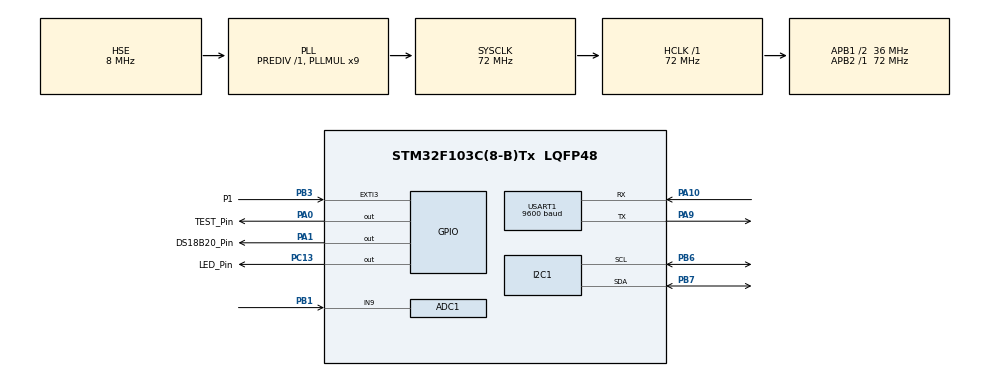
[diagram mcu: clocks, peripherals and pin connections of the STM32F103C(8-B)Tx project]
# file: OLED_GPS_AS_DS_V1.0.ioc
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ADC1.Channel-0\#ChannelRegularConversion=ADC_CHANNEL_9
ADC1.ContinuousConvMode=ENABLE
ADC1.NbrOfConversionFlag=1
ADC1.Rank-0\#ChannelRegularConversion=1
ADC1.SamplingTime-0\#ChannelRegularConversion=ADC_SAMPLETIME_1CYCLE_5
ADC1.master=1
I2C1.I2C_Mode=I2C_Fast
Mcu.Family=STM32F1
Mcu.Name=STM32F103C(8-B)Tx
Mcu.Package=LQFP48
NVIC.EXTI3_IRQn=true\:0\:0\:false\:false\:true\:true\:true\:true
NVIC.PriorityGroup=NVIC_PRIORITYGROUP_4
NVIC.USART1_IRQn=true\:0\:0\:false\:false\:true\:true\:true\:true
PA0-WKUP.GPIO_Label=TEST_Pin
PA0-WKUP.Signal=GPIO_Output
PA1.GPIO_Label=DS18B20_Pin
PA1.Signal=GPIO_Output
PA10.Mode=Asynchronous
PA10.Signal=USART1_RX
PA13.Mode=Serial_Wire
PA13.Signal=SYS_JTMS-SWDIO
PA14.Mode=Serial_Wire
PA14.Signal=SYS_JTCK-SWCLK
PA9.Mode=Asynchronous
PA9.Signal=USART1_TX
PB1.Signal=ADCx_IN9
PB3.GPIO_Label=P1
PB3.Signal=GPXTI3
PB6.Mode=I2C
PB6.Signal=I2C1_SCL
PB7.Mode=I2C
PB7.Signal=I2C1_SDA
PC13-TAMPER-RTC.GPIO_Label=LED_Pin
PC13-TAMPER-RTC.Signal=GPIO_Output
PD0-OSC_IN.Mode=HSE-External-Oscillator
PD0-OSC_IN.Signal=RCC_OSC_IN
PD1-OSC_OUT.Mode=HSE-External-Oscillator
PD1-OSC_OUT.Signal=RCC_OSC_OUT
ProjectManager.HeapSize=0x200
ProjectManager.StackSize=0x400
ProjectManager.TargetToolchain=STM32CubeIDE
RCC.ADCPresc=RCC_ADCPCLK2_DIV6
RCC.AHBFreq_Value=72000000
RCC.APB1CLKDivider=RCC_HCLK_DIV2
RCC.APB1Freq_Value=36000000
RCC.APB1TimFreq_Value=72000000
RCC.APB2Freq_Value=72000000
RCC.APB2TimFreq_Value=72000000
RCC.HCLKFreq_Value=72000000
RCC.PLLMUL=RCC_PLL_MUL9
RCC.PLLSourceVirtual=RCC_PLLSOURCE_HSE
RCC.SYSCLKFreq_VALUE=72000000
RCC.SYSCLKSource=RCC_SYSCLKSOURCE_PLLCLK
RCC.USBFreq_Value=72000000
SH.ADCx_IN9.0=ADC1_IN9,IN9
TIM1.Period=65500
TIM1.Prescaler=70-1
USART1.BaudRate=9600
USART1.VirtualMode=VM_ASYNC
VP_TIM1_VS_ClockSourceINT.Mode=Internal
board=custom

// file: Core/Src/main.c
/* USER CODE BEGIN Header */
/**
  ******************************************************************************
  * @file           : main.c
  * @brief          : Main program body
  ******************************************************************************
  * @attention
  *
  * Copyright (c) 2023 STMicroelectronics.
  * All rights reserved.
  *
  * This software is licensed under terms that can be found in the LICENSE file
  * in the root directory of this software component.
  * If no LICENSE file comes with this software, it is provided AS-IS.
  *
  ******************************************************************************
  */
/* USER CODE END Header */
#include "main.h"
#include "adc.h"
#include "i2c.h"
#include "tim.h"
#include "usart.h"
#include "gpio.h"

/* USER CODE BEGIN Includes */

#include "gps_neo6.h" //GPS

#include "onewire.h"	//DS18B20
#include "ds18b20.h"

#include "fonts.h"	//OLED
#include "ssd1306.h"

#include "stdio.h"
#include "string.h"
#include "math.h"

/* USER CODE END Includes */

/* USER CODE BEGIN PTD */
extern I2C_HandleTypeDef hi2c1;
extern TIM_HandleTypeDef htim1;
/* USER CODE END PTD */

/* USER CODE BEGIN PV */

typedef enum {
    PAGE_ONE,
    PAGE_TWO,
    PAGE_THREE,
    PAGE_FOUR,
    NUM_PAGES
} PAGE;

#define BUTTON_DEBOUNCE_DELAY 200

volatile PAGE currentPage = PAGE_ONE;
volatile uint32_t buttonPressed = 0;
volatile uint32_t lastButtonPressTime = 0;
volatile uint32_t buttonState = 0;

#define MIN_SPEED_KM 1.5    // Minimum speed (in km/h) to consider that the GPS is moving
#define GPS_EARTH_RADIUS_KM          6371.0 // Earth's radius in kilometers
#define DEG_TO_RAD                   0.0174533 // Degree to Radian conversion factor

double last_latitude = 0.0;  // Used to store the last received latitude value
double last_longitude = 0.0; // Used to store the last received longitude value
double total_distance = 0.0; // Used to store the total travelled distance

NEO6_State GpsState;

char LatitudeString[32];
char LongitudeString[32];
char SpeedString[32];
char SatelitesNumberString[32];

uint16_t readValue;
float sensitivity = 0.04; // 0.04 for 50A Model
float rawVoltage;
float current;
char current_string[32];

char total_distance_string[32];
double current_distance;

float temperature;
char temp_string[16];

/**
  * @brief  Returns the Haversine distance between two GPS coordinates.
  * @param  lat1 Latitude of first coordinate
  * @param  lon1 Longitude of first coordinate
  * @param  lat2 Latitude of second coordinate
  * @param  lon2 Longitude of second coordinate
  * @retval Haversine distance between the two coordinates
  */
double haversine_km(double lat1, double lon1, double lat2, double lon2);

double haversine_km(double lat1, double lon1, double lat2, double lon2)
{
    // Convert degrees to radians
    lat1 *= DEG_TO_RAD;
    lon1 *= DEG_TO_RAD;
    lat2 *= DEG_TO_RAD;
    lon2 *= DEG_TO_RAD;

    // Apply haversine formula
    double d_lat = lat2 - lat1;
    double d_lon = lon2 - lon1;
    double a = sin(d_lat / 2) * sin(d_lat / 2) +
               cos(lat1) * cos(lat2) *
               sin(d_lon / 2) * sin(d_lon / 2);
    double c = 2 * atan2(sqrt(a), sqrt(1 - a));

    // Multiply by Earth's radius to obtain distance in km
    return GPS_EARTH_RADIUS_KM * c;
}

/* USER CODE END PV */

void SystemClock_Config(void);
/* USER CODE BEGIN PFP */
void displayPage(PAGE page);
/* USER CODE END PFP */

int main(void)
{

  /* MCU Configuration--------------------------------------------------------*/

  /* Reset of all peripherals, Initializes the Flash interface and the Systick. */
  HAL_Init();

  /* Configure the system clock */
  SystemClock_Config();

  /* Initialize all configured peripherals */
  MX_GPIO_Init();
  MX_USART1_UART_Init();
  MX_ADC1_Init();
  MX_I2C1_Init();
  MX_TIM1_Init();
  /* USER CODE BEGIN 2 */

  HAL_ADC_Start(&hadc1);
  SSD1306_Init();
  DS18B20_Init(DS18B20_Resolution_12bits);
  HAL_GPIO_WritePin(TEST_Pin_GPIO_Port, TEST_Pin_Pin, 0);
  NEO6_Init(&GpsState, &huart1);

  uint32_t DS18B20_delay = 0;
  uint32_t NEO6_delay = 0;
  uint32_t ADC_delay = 0;
  uint32_t updateScreenTime = 0;
  uint32_t HAL_GPIO_TogglePin_delay = 0;
  /* USER CODE END 2 */

  /* Infinite loop */
  /* USER CODE BEGIN WHILE */
  while (1)
  {

//////////////////////////////////////////////////////////////////////////////////////
//			DS18B20_Temperature_Detection

	 if((HAL_GetTick() - DS18B20_delay) > 250)
	 {
		 DS18B20_ReadAll();
		 DS18B20_StartAll();

		 uint8_t ROM_tmp[8];
		 uint8_t i;		//Iterator

	    for(i = 0; i < DS18B20_Quantity(); i++)
	    {
	       if(DS18B20_GetTemperature(i, &temperature))
		   {
		    DS18B20_GetROM(i, ROM_tmp);
		   	memset(temp_string, 0, sizeof(temp_string));

		   	sprintf(temp_string, "%.2f *C", temperature);
		   }
		}
		DS18B20_delay = HAL_GetTick();
	 }

	 if((HAL_GetTick() - HAL_GPIO_TogglePin_delay) > 2000)
	 {
		 HAL_GPIO_TogglePin(LED_Pin_GPIO_Port, LED_Pin_Pin);
		 HAL_GPIO_TogglePin_delay = HAL_GetTick();
	 }

//////////////////////////////////////////////////////////////////////////////
//			Measuring_Current

	  if((HAL_GetTick() - ADC_delay) > 250)
	   {
		  HAL_ADC_PollForConversion(&hadc1,1000);
		  readValue = HAL_ADC_GetValue(&hadc1);
		  rawVoltage = (float) readValue * 3.3 / 4105;
		  current =(rawVoltage - 2.5)/sensitivity;
		  sprintf(current_string,"%.2f A ", current);

		  ADC_delay = HAL_GetTick();
	   }

///////////////////////////////////////////////////////////////////////////////
// 			GPS_Update_Function

	  if((HAL_GetTick() - NEO6_delay) > 100)
	  {
	  NEO6_Task(&GpsState);

	  	  if (GpsState.SpeedKilometers >= MIN_SPEED_KM)
	  	  {
	  		  	  if ( (last_latitude != 0.0) && (last_longitude != 0.0))
	  		  	  {
	  		  		  // Calculate the trip distance using the haversine function
	  		  		  current_distance = haversine_km(last_latitude, last_longitude, GpsState.Latitude, GpsState.Longitude);
	  		  		  GpsState.total_distance += current_distance;
	  		  	  }

	  		  	  last_latitude = GpsState.Latitude;
	  		  	  last_longitude = GpsState.Longitude;
	  	  }

	  	  sprintf(total_distance_string, "%.3f km", GpsState.total_distance); // write into the string the total distance with 2 decimal precision
	  	  sprintf(LatitudeString, "%f", GpsState.Latitude);
	  	  sprintf(LongitudeString, "%f", GpsState.Longitude);
	  	  sprintf(SpeedString, "%.2f km/h", GpsState.SpeedKilometers);
	  	  sprintf(SatelitesNumberString, "%d", GpsState.SatelitesNumber);
	  	  NEO6_delay = HAL_GetTick();
	  }

/////////////////////////////////////////////////////////////////////////////////
//    		Handle_Button_Update_Displayed_Pages

		  if(buttonPressed)
		   {
			  buttonPressed = 0;
			  if(++currentPage >= NUM_PAGES)
			  {
				  currentPage = PAGE_ONE;
			  }
	         displayPage(currentPage);
		   }
		 SSD1306_UpdateScreen();

///////////////////////////////////////////////////////////////////////////////////
//			Update_Information_OnThe_Current_Page

	  if(HAL_GetTick() - updateScreenTime >= 250)
	      {
	          displayPage(currentPage);  // This is where you update information on the current page
	          updateScreenTime = HAL_GetTick();
	      }
  }
    /* USER CODE END WHILE */

}

void SystemClock_Config(void)
{
  RCC_OscInitTypeDef RCC_OscInitStruct = {0};
  RCC_ClkInitTypeDef RCC_ClkInitStruct = {0};
  RCC_PeriphCLKInitTypeDef PeriphClkInit = {0};

  /** Initializes the RCC Oscillators according to the specified parameters
  * in the RCC_OscInitTypeDef structure.
  */
  RCC_OscInitStruct.OscillatorType = RCC_OSCILLATORTYPE_HSE;
  RCC_OscInitStruct.HSEState = RCC_HSE_ON;
  RCC_OscInitStruct.HSEPredivValue = RCC_HSE_PREDIV_DIV1;
  RCC_OscInitStruct.HSIState = RCC_HSI_ON;
  RCC_OscInitStruct.PLL.PLLState = RCC_PLL_ON;
  RCC_OscInitStruct.PLL.PLLSource = RCC_PLLSOURCE_HSE;
  RCC_OscInitStruct.PLL.PLLMUL = RCC_PLL_MUL9;
  if (HAL_RCC_OscConfig(&RCC_OscInitStruct) != HAL_OK)
  {
    Error_Handler();
  }

  /** Initializes the CPU, AHB and APB buses clocks
  */
  RCC_ClkInitStruct.ClockType = RCC_CLOCKTYPE_HCLK|RCC_CLOCKTYPE_SYSCLK
                              |RCC_CLOCKTYPE_PCLK1|RCC_CLOCKTYPE_PCLK2;
  RCC_ClkInitStruct.SYSCLKSource = RCC_SYSCLKSOURCE_PLLCLK;
  RCC_ClkInitStruct.AHBCLKDivider = RCC_SYSCLK_DIV1;
  RCC_ClkInitStruct.APB1CLKDivider = RCC_HCLK_DIV2;
  RCC_ClkInitStruct.APB2CLKDivider = RCC_HCLK_DIV1;

  if (HAL_RCC_ClockConfig(&RCC_ClkInitStruct, FLASH_LATENCY_2) != HAL_OK)
  {
    Error_Handler();
  }
  PeriphClkInit.PeriphClockSelection = RCC_PERIPHCLK_ADC;
  PeriphClkInit.AdcClockSelection = RCC_ADCPCLK2_DIV6;
  if (HAL_RCCEx_PeriphCLKConfig(&PeriphClkInit) != HAL_OK)
  {
    Error_Handler();
  }
}

/* USER CODE BEGIN 4 */

void HAL_UART_RxCpltCallback(UART_HandleTypeDef *huart)
{
  if(huart == GpsState.neo6_huart)
  {
    NEO6_ReceiveUartChar(&GpsState);
  }
}

void HAL_GPIO_EXTI_Callback(uint16_t GPIO_Pin)
{
    if (GPIO_Pin == P1_Pin)
    {
        uint16_t currentTime = HAL_GetTick();

        if (currentTime - lastButtonPressTime >= BUTTON_DEBOUNCE_DELAY)
        {
            lastButtonPressTime = currentTime;
            buttonState = !buttonState;

            if(buttonState)
            {
                buttonPressed = 1;
            }
        }
    }
}

void displayPage(PAGE page)
{
    SSD1306_Fill(SSD1306_COLOR_BLACK);

    switch(page)
    {
        case PAGE_ONE:

    		 SSD1306_GotoXY (0, 0);
    		 SSD1306_Puts ("TEM:", &Font_7x10, 1);
    	     SSD1306_GotoXY (28,0);
    	     SSD1306_Puts (temp_string, &Font_7x10, 1);

    	     SSD1306_GotoXY (00, 10);
    	   	 SSD1306_Puts ("CURR:", &Font_7x10, 1);
    	     SSD1306_GotoXY (40,10);
    	     SSD1306_Puts (current_string, &Font_7x10, 1);

    	     SSD1306_GotoXY (0, 20);
    	     SSD1306_Puts ("S_GPS:", &Font_7x10, 1);
    	     SSD1306_GotoXY (40,20);
    	     SSD1306_Puts (SpeedString, &Font_7x10, 1);

    	     SSD1306_GotoXY (0, 30);
    	     SSD1306_Puts ("DIS:", &Font_7x10, 1);
    	     SSD1306_GotoXY (35,30);
    	     SSD1306_Puts (total_distance_string, &Font_7x10, 1);

    	     SSD1306_GotoXY (0, 40);
    	   	 SSD1306_Puts ("LAT:", &Font_7x10, 1);
    	     SSD1306_GotoXY (35,40);
    	     SSD1306_Puts (LatitudeString, &Font_7x10, 1);

    	     SSD1306_GotoXY (0, 50);
    	   	 SSD1306_Puts ("LON:", &Font_7x10, 1);
    	     SSD1306_GotoXY (35,50);
    	     SSD1306_Puts (LongitudeString, &Font_7x10, 1);

    	     SSD1306_GotoXY (85, 0);
    	     SSD1306_Puts ("S:", &Font_7x10, 1);
    	     SSD1306_GotoXY (100,0);
    	     SSD1306_Puts (SatelitesNumberString, &Font_7x10, 1);
    	     break;

        case PAGE_TWO:

            SSD1306_GotoXY (23 , 0);
            SSD1306_Puts ("TEMPERATURE:", &Font_7x10, 1);
            SSD1306_GotoXY (20 ,10);
            SSD1306_Puts (temp_string, &Font_11x18, 1);

            SSD1306_GotoXY (33 , 30);
            SSD1306_Puts ("CURRENT:", &Font_7x10, 1);
            SSD1306_GotoXY (28 ,40);
            SSD1306_Puts (current_string, &Font_11x18, 1);
            break;

        case PAGE_THREE:

            SSD1306_GotoXY (33, 0);
            SSD1306_Puts ("SPEED GPS:", &Font_7x10, 1);
            SSD1306_GotoXY (18,10);
            SSD1306_Puts (SpeedString, &Font_11x18, 1);

            SSD1306_GotoXY (15, 29);
            SSD1306_Puts ("TOTAL DISTANCE:", &Font_7x10, 1);
            SSD1306_GotoXY (15,39);
            SSD1306_Puts (total_distance_string, &Font_7x10, 1);

    	    SSD1306_GotoXY (85, 50);
    	    SSD1306_Puts ("S:", &Font_7x10, 1);
    	    SSD1306_GotoXY (100,45);
    	    SSD1306_Puts (SatelitesNumberString, &Font_11x18, 1);
            break;

        case PAGE_FOUR:

            SSD1306_GotoXY (25,0 );
            SSD1306_Puts ("LATITUDE:", &Font_7x10, 1);
            SSD1306_GotoXY (8,10);
            SSD1306_Puts (LatitudeString, &Font_11x18, 1);

            SSD1306_GotoXY (25, 30);
            SSD1306_Puts ("LONGITUDE:", &Font_7x10, 1);
            SSD1306_GotoXY (8,40);
            SSD1306_Puts (LongitudeString, &Font_11x18, 1);
            break;

        default:
        	// handle the case when "page" has a value other than those above
            break;
    }

    SSD1306_UpdateScreen();
}

/* USER CODE END 4 */

void Error_Handler(void)
{
  __disable_irq();
  while (1)
  {
  }
}
